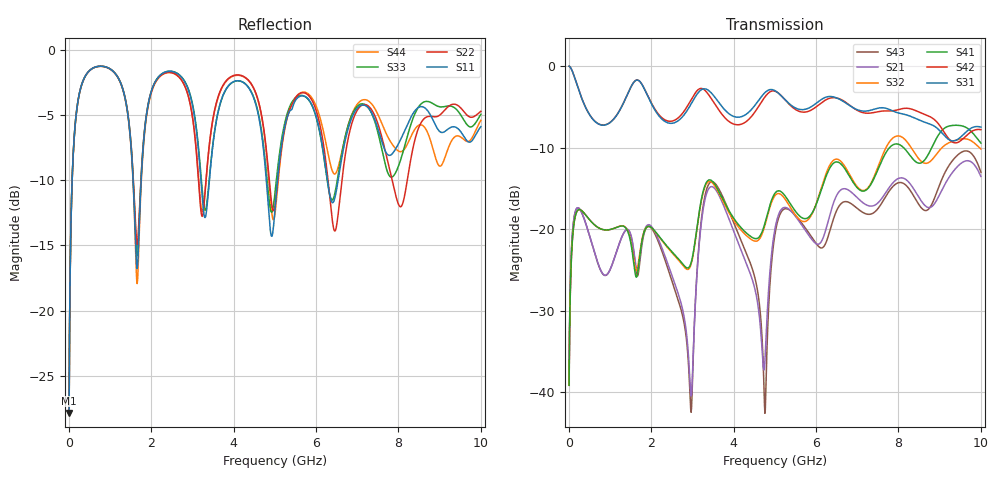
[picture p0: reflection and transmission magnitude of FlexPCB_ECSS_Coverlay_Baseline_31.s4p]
! TOUCHSTONE file generated by CST MICROWAVE STUDIO
! Date and time: Sun Jul  5 19:09:51 2026
! Project name: FlexPCB_ECSS_Coverlay_Baseline.cst
! Parameters = {Gap=1.2; GroundW=9; Hadh=0.025; Hcov=0.025; Hsub=0.1; L=50; Tcu=0.035; W=0.18}
! Header version: 2024
! Port assignment regex: !\s*Touchstone port\s*([0-9]+)\s*=\s*(CST MWS port|CST DES external port|CST DES block port)\s*(.+)\s* \(\"(.*)\"\)(\s*mode\s*([0-9]+))?.*
! Touchstone port assignment:
! Touchstone port 1 = CST MWS port 1 ("")
! Touchstone port 2 = CST MWS port 2 ("")
! Touchstone port 3 = CST MWS port 3 ("")
! Touchstone port 4 = CST MWS port 4 ("")
# GHz S MA R 50
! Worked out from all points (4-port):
!   1002 points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, 10 MHz to 10 GHz, reference 50 ohm
!   strongest paths, dB at 10 MHz, 2.51 GHz, 5.01 GHz, 7.503 GHz, 10 GHz:
!     S31: 0.0, -7.0, -3.0, -5.2, -7.5
!     S42: 0.0, -6.7, -3.1, -5.6, -7.8
!     S41: -39.1, -22.8, -15.6, -12.7, -9.4
!     S32: -39.1, -22.9, -15.9, -12.4, -10.2
!     S21: -38.2, -25.7, -19.8, -16.8, -13.5
!     S43: -38.2, -26.4, -20.4, -17.5, -13.0
!   lowest |S11| = -27.8 dB at 10 MHz (marker M1), VSWR 1.08, Z = 49.7 - j4.03 ohm
!   |S11| at or under -10 dB: 3.208 GHz to 3.413 GHz (204.6 MHz wide, 6.18 % of centre); 4.794 GHz to 5.065 GHz (270.9 MHz wide, 5.5 % of centre); 6.275 GHz to 6.537 GHz (262.2 MHz wide, 4.09 % of centre)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
0.01  0.04051 -91.4  0.01224 84.8  0.9978 -2.7  0.01104 85.0
      0.01224 84.8  0.0404 -91.4  0.01104 85.0  0.9978 -2.7
      0.9978 -2.7  0.01104 85.0  0.04051 -91.4  0.01224 84.8
      0.01104 85.0  0.9978 -2.7  0.01224 84.8  0.04039 -91.4
1.64  0.1566 156.5  0.05777 -21.8  0.8192 178.9  0.05078 -172.2
      0.05777 -21.8  0.1889 161.0  0.05582 -171.7  0.8191 179.1
      0.8192 178.9  0.05582 -171.7  0.1735 159.4  0.05388 -22.1
      0.05078 -172.2  0.8191 179.1  0.05388 -22.1  0.1412 153.9
3.2  0.3287 138.4  0.09959 84.6  0.7107 10.1  0.1436 80.3
     0.09959 84.6  0.2476 156.0  0.141 81.2  0.7283 3.0
     0.7107 10.1  0.141 81.2  0.3421 141.3  0.1036 72.6
     0.1436 80.3  0.7283 3.0  0.1036 72.6  0.2587 157.1
4.87  0.2205 146.6  0.05033 38.8  0.7156 178.1  0.137 -113.6
      0.05033 38.8  0.3109 140.8  0.1331 -111.8  0.6912 -176.7
      0.7156 178.1  0.1331 -111.8  0.2588 153.8  0.04112 42.6
      0.137 -113.6  0.6912 -176.7  0.04112 42.6  0.2984 140.4
6.33  0.279 159.6  0.1209 95.3  0.6505 6.0  0.2359 88.9
      0.1209 95.3  0.2759 142.9  0.2457 91.9  0.6346 10.4
      0.6505 6.0  0.2457 91.9  0.2795 163.1  0.09664 100.9
      0.2359 88.9  0.6346 10.4  0.09664 100.9  0.3744 158.2
7.79  0.3936 177.9  0.182 113.2  0.54 -168.5  0.3173 -78.5
      0.182 113.2  0.3453 160.3  0.3453 -78.3  0.5304 -161.4
      0.54 -168.5  0.3453 -78.3  0.327 177.9  0.1731 111.0
      0.3173 -78.5  0.5304 -161.4  0.1731 111.0  0.4489 163.5
10  0.5071 -174.6  0.2104 -38.8  0.4223 -58.6  0.3371 0.4
    0.2104 -38.8  0.5809 -169.0  0.31 -1.2  0.4073 -58.3
    0.4223 -58.6  0.31 -1.2  0.5655 -167.3  0.2233 -26.1
    0.3371 0.4  0.4073 -58.3  0.2233 -26.1  0.5361 -166.3
